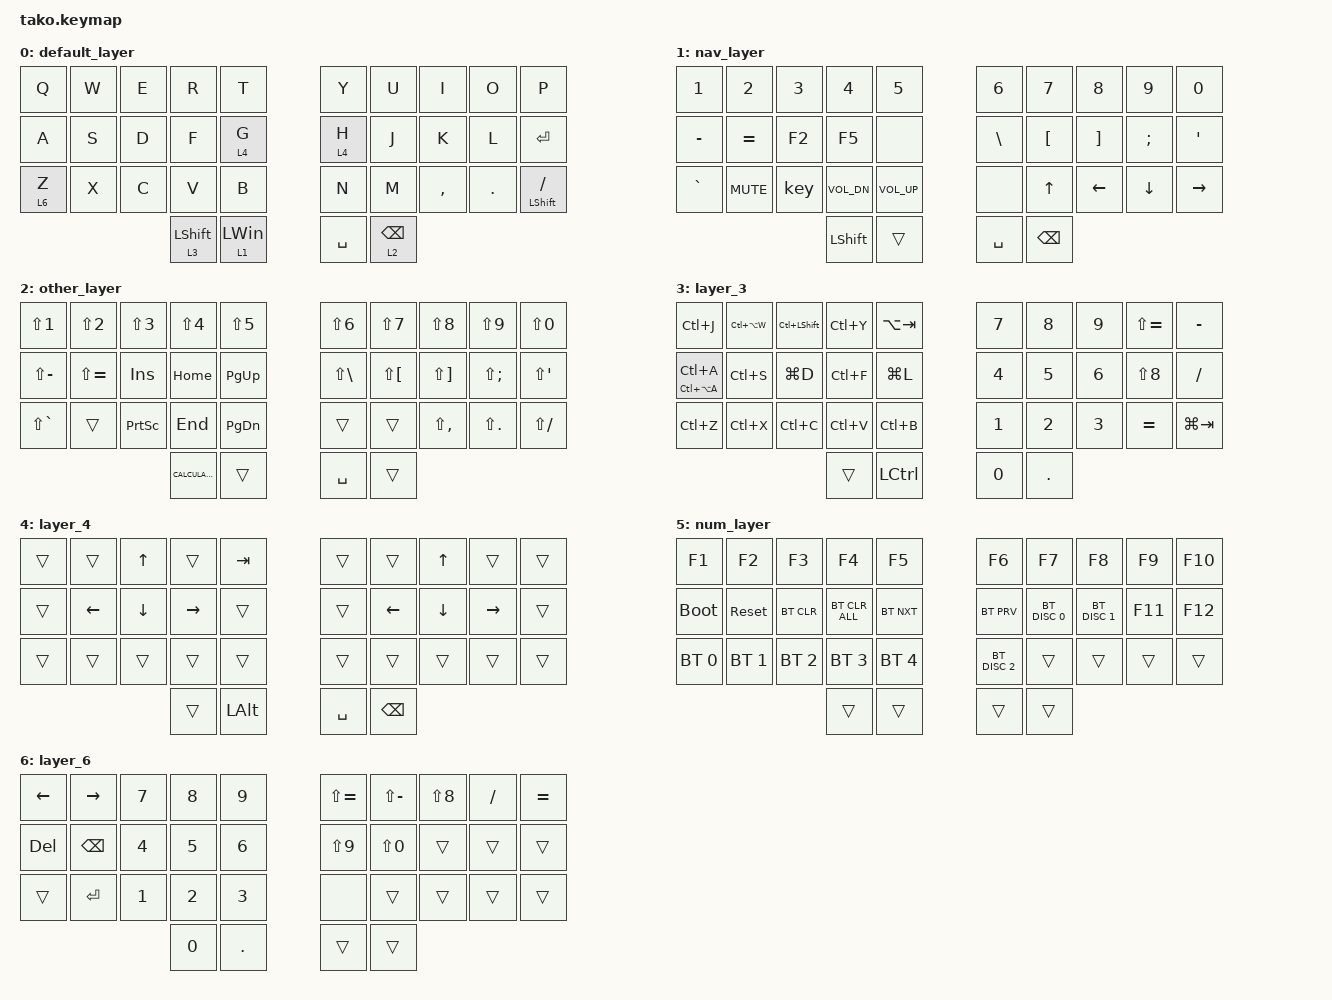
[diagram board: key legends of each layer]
/*
 * Copyright (c) 2020 The ZMK Contributors
 *
 * SPDX-License-Identifier: MIT
 */

#include <behaviors.dtsi>
#include <dt-bindings/zmk/bt.h>
#include <dt-bindings/zmk/keys.h>

#define NAV_L 1
#define OTHER_L 2
#define NUM_L 3
#define SYM_L 4

// Using layer taps on thumbs, having quick tap as well helps w/ repeating space/backspace

&lt {
    quick_tap_ms = <200>;
    flavor = "tap-preferred";
};

/ {
    behaviors {
        hm: homerow_mods {
            compatible = "zmk,behavior-hold-tap";
            label = "homerow mods";
            #binding-cells = <2>;
            tapping_term_ms = <200>;
            flavor = "tap-preferred";
            bindings = <&kp>, <&kp>;
        };
    };

    combos {
        compatible = "zmk,combos";

        esc {
            bindings = <&kp ESC>;
            key-positions = <0 1>;
        };

        bk {
            bindings = <&kp BACKSPACE>;
            key-positions = <8 9>;
        };

        win {
            bindings = <&kp LEFT_WIN>;
            key-positions = <30 31>;
        };

        del {
            bindings = <&kp DELETE>;
            key-positions = <10 11>;
        };

        caps {
            bindings = <&kp CAPS>;
            key-positions = <20 21>;
        };

        tab {
            bindings = <&kp TAB>;
            key-positions = <28 29>;
        };

        enter {
            bindings = <&kp ENTER>;
            key-positions = <18 19>;
        };

        pu {
            bindings = <&kp PAGE_UP>;
            key-positions = <6 7>;
        };

        pd {
            bindings = <&kp PAGE_DOWN>;
            key-positions = <16 17>;
        };

        home {
            bindings = <&kp HOME>;
            key-positions = <2 3>;
        };

        end {
            bindings = <&kp END>;
            key-positions = <12 13>;
        };

        zuokuohao {
            bindings = <&kp LS(NUMBER_9)>;
            key-positions = <7 8>;
        };

        youkuohao {
            bindings = <&kp LS(N0)>;
            key-positions = <17 18>;
        };

        diwuceng {
            bindings = <&mo 5>;
            key-positions = <28 27>;
        };
    };

    macros {
        key: key {
            compatible = "zmk,behavior-macro";
            #binding-cells = <0>;
            bindings = <&kp LS(C) &kp H &kp L &kp DOT &kp N8 &kp N8 &kp N0 &kp N6 &kp N0 &kp N2 &kp LS(N7) &kp LS(N8) &kp LS(N9) &kp ENTER>;
            label = "KEY";
        };
    };

    keymap {
        compatible = "zmk,keymap";

        default_layer {
            bindings = <
&kp Q    &kp W  &kp E  &kp R        &kp T             &kp Y      &kp U            &kp I      &kp O    &kp P
&kp A    &kp S  &kp D  &kp F        &lt 4 G           &lt 4 H    &kp J            &kp K      &kp L    &kp ENTER
&lt 6 Z  &kp X  &kp C  &kp V        &kp B             &kp N      &kp M            &kp COMMA  &kp DOT  &mt LSHFT SLASH
                       &lt 3 LSHFT  &lt 1 LEFT_WIN    &kp SPACE  &lt 2 BACKSPACE
            >;
        };

        nav_layer {
            bindings = <
&kp NUMBER_1  &kp NUMBER_2  &kp NUMBER_3  &kp NUMBER_4  &kp N5          &kp NUMBER_6  &kp N7         &kp N8    &kp N9    &kp N0
&kp MINUS     &kp EQUAL     &kp F2        &kp F5        &none           &kp BSLH      &kp LBKT       &kp RBKT  &kp SEMI  &kp APOS
&kp GRAVE     &kp C_MUTE    &key          &kp C_VOL_DN  &kp C_VOL_UP    &none         &kp UP         &kp LEFT  &kp DOWN  &kp RIGHT
                                          &kp LSHFT     &trans          &kp SPACE     &kp BACKSPACE
            >;
        };

        other_layer {
            bindings = <
&kp LS(N1)     &kp LS(N2)     &kp LS(N3)       &kp LS(N4)        &kp LS(N5)     &kp LS(N6)    &kp LS(N7)    &kp LS(N8)     &kp LS(N9)    &kp LS(N0)
&kp LS(MINUS)  &kp LS(EQUAL)  &kp INSERT       &kp HOME          &kp PAGE_UP    &kp LS(BSLH)  &kp LS(LBKT)  &kp LS(RBKT)   &kp LS(SEMI)  &kp LS(APOS)
&kp LS(GRAVE)  &trans         &kp PRINTSCREEN  &kp END           &kp PG_DN      &trans        &trans        &kp LS(COMMA)  &kp LS(DOT)   &kp LS(FSLH)
                                               &kp K_CALCULATOR  &trans         &kp SPACE     &trans
            >;
        };

        layer_3 {
            bindings = <
&kp LC(J)            &kp LC(LA(W))  &kp LC(LSHFT)  &kp LC(Y)  &kp LA(TAB)    &kp N7  &kp N8   &kp N9  &kp LS(EQUAL)  &kp MINUS
&mt LC(LA(A)) LC(A)  &kp LC(S)      &kp LG(D)      &kp LC(F)  &kp LG(L)      &kp N4  &kp N5   &kp N6  &kp LS(N8)     &kp FSLH
&kp LC(Z)            &kp LC(X)      &kp LC(C)      &kp LC(V)  &kp LC(B)      &kp N1  &kp N2   &kp N3  &kp EQUAL      &kp LG(TAB)
                                                   &trans     &kp LCTRL      &kp N0  &kp DOT
            >;
        };

        layer_4 {
            bindings = <
&trans  &trans    &kp UP    &trans     &kp TAB         &trans     &trans         &kp UP    &trans     &trans
&trans  &kp LEFT  &kp DOWN  &kp RIGHT  &trans          &trans     &kp LEFT       &kp DOWN  &kp RIGHT  &trans
&trans  &trans    &trans    &trans     &trans          &trans     &trans         &trans    &trans     &trans
                            &trans     &kp LEFT_ALT    &kp SPACE  &kp BACKSPACE
            >;
        };

        num_layer {
            bindings = <
&kp F1        &kp F2        &kp F3        &kp F4          &kp F5          &kp F6         &kp F7         &kp F8         &kp F9   &kp F10
&bootloader   &sys_reset    &bt BT_CLR    &bt BT_CLR_ALL  &bt BT_NXT      &bt BT_PRV     &bt BT_DISC 0  &bt BT_DISC 1  &kp F11  &kp F12
&bt BT_SEL 0  &bt BT_SEL 1  &bt BT_SEL 2  &bt BT_SEL 3    &bt BT_SEL 4    &bt BT_DISC 2  &trans         &trans         &trans   &trans
                                          &trans          &trans          &trans         &trans
            >;
        };

        layer_6 {
            bindings = <
&kp LEFT  &kp RIGHT  &kp N7  &kp N8  &kp N9     &kp LS(EQUAL)  &kp LS(MINUS)  &kp LS(N8)  &kp FSLH  &kp EQUAL
&kp DEL   &kp BSPC   &kp N4  &kp N5  &kp N6     &kp LS(N9)     &kp LS(N0)     &trans      &trans    &trans
&trans    &kp ENTER  &kp N1  &kp N2  &kp N3     &none          &trans         &trans      &trans    &trans
                             &kp N0  &kp DOT    &trans         &trans
            >;
        };
    };
};
